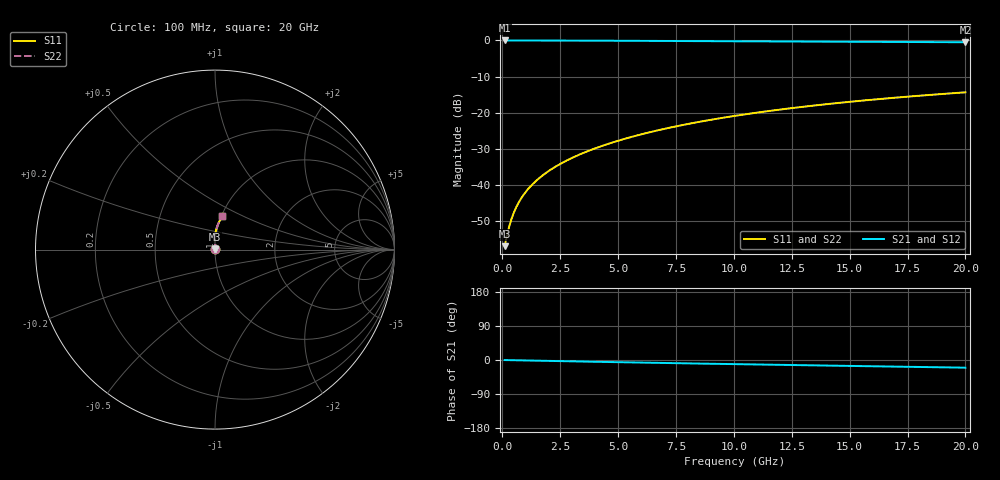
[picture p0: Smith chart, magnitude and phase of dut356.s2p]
! Touchstone file exported from HFSS 2024.1.0
!  File:  C:/UserFiles/LocalFiles/RDL_TSV_Batchsim/temp_RDL_bottom_356_1779612614.aedt
!  Generated:  04:52:34 PM May 24, 2026
!  Design:  RDL_bottom
!  Project:  temp_RDL_bottom_356_1779612614
!  Setup:  Setup1
!  Solution:  Sweep
! Variables:
!  dtsv = 10.80580581um
!  hbump = 3um
!  htsv = 97.62um
!  ldown = 274.14um
!  lrdl = 100um
!  p = 40
!  p1 = 50.23um
!  rhole = 1um
!  t = 450um
!  tdown = 4.08um
!  trdl = 3.915915916um
!  wdown = 25.89um
!  wrdl = 20um
# GHz S MA R 50.000000
! Terminal data exported
! Port[1] = RDL1_T1
! Port[2] = RDL1_T2
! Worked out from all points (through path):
!   200 points, 100 MHz to 20 GHz, reference 50 ohm
!   highest |S21| = -0.01 dB at 100 MHz (marker M1); lowest = -0.5 dB at 20 GHz (marker M2)
!   group delay of S21, straight-line fit = 2.77 ps
!   lowest |S11| = -56.9 dB at 100 MHz (marker M3), VSWR 1.00, Z = 50.1 + j0.0872 ohm
!   |S11| at or under -10 dB: start of sweep to end of sweep
!   |S22| runs from -56.9 to -14.4 dB; largest |S21 - S12| = 2.7e-15
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0.1  0.001425 37.6  0.9989 -0.1  0.9989 -0.1  0.001425 37.6
! Gamma 0 0 0 0
! Port Impedance 50 0 50 0
0.2  0.001988 55.8  0.9988 -0.3  0.9988 -0.3  0.00199 55.9
0.3  0.002678 65.1  0.9987 -0.4  0.9987 -0.4  0.002681 65.2
0.4  0.003411 70.4  0.9986 -0.5  0.9986 -0.5  0.003415 70.5
0.5  0.004159 73.8  0.9985 -0.6  0.9985 -0.6  0.004163 73.9
0.6  0.004911 76.2  0.9984 -0.7  0.9984 -0.7  0.004916 76.2
0.8  0.00642 79.3  0.9983 -1.0  0.9983 -1.0  0.006424 79.3
1.1  0.008685 82.2  0.998 -1.3  0.998 -1.3  0.008688 82.2
1.5  0.01173 84.7  0.9975 -1.8  0.9975 -1.8  0.01173 84.6
1.8  0.01404 86.0  0.9971 -2.2  0.9971 -2.2  0.01404 85.9
2.1  0.01637 87.0  0.9966 -2.5  0.9966 -2.5  0.01637 87.0
2.7  0.02116 88.5  0.9954 -3.2  0.9954 -3.2  0.02116 88.5
3.5  0.02777 89.8  0.9935 -4.1  0.9935 -4.1  0.02777 89.8
4.2  0.03379 90.5  0.9916 -4.9  0.9916 -4.9  0.03379 90.5
5  0.04092 91.0  0.9892 -5.8  0.9892 -5.8  0.04092 91.0
6.8  0.05787 90.9  0.9835 -7.7  0.9835 -7.7  0.05787 90.9
8.4  0.07372 90.0  0.9783 -9.3  0.9783 -9.3  0.07371 90.0
10.1  0.09103 88.5  0.9729 -11.0  0.9729 -11.0  0.09103 88.5
11.7  0.1075 86.9  0.968 -12.5  0.968 -12.5  0.1075 86.9
13.4  0.1251 85.0  0.9629 -14.1  0.9629 -14.1  0.1251 85.0
16.7  0.1587 81.2  0.9533 -17.2  0.9533 -17.2  0.1587 81.2
20  0.1914 77.5  0.9439 -20.2  0.9439 -20.2  0.1914 77.5
